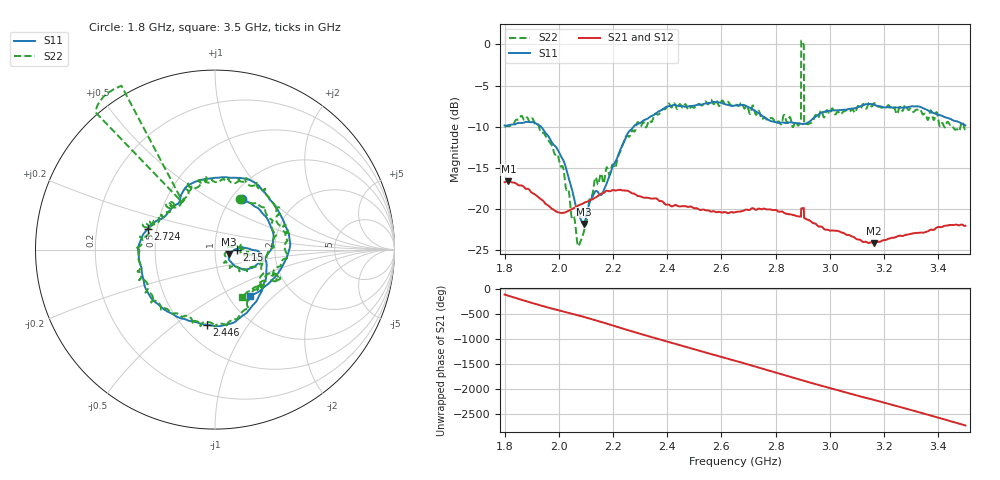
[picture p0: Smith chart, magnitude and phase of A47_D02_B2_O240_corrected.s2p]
! Created with skrf 1.9.0 (http://scikit-rf.org).
# Hz S RI R 50.0
!freq ReS11 ImS11 ReS21 ImS21 ReS12 ImS12 ReS22 ImS22
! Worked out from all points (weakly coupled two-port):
!   1601 points, 1.8 GHz to 3.5 GHz, reference 50 ohm
!   highest |S21| = -16.67 dB at 1.814 GHz (marker M1); lowest = -24.2 dB at 3.162 GHz (marker M2)
!   lowest |S11| = -21.8 dB at 2.091 GHz (marker M3), VSWR 1.18, Z = 58.3 - j2.9 ohm
!   |S11| at or under -10 dB: 1.934 GHz to 2.276 GHz (342.1 MHz wide, 16.2 % of centre)
!   |S22| runs from -24.5 to 0.5 dB; largest |S21 - S12| = 0.0025
!   S11 on the Smith chart (normalised r, x): 1.8 GHz: 1.12, +0.71; 2.15 GHz: 1.28, -0.00; 2.446 GHz: 0.65, -0.66; 2.724 GHz: 0.44, +0.12; 3.5 GHz: 1.26, -0.72
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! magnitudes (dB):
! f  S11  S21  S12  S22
! 1.8 GHz  -9.9  -16.8  -16.8  -10.0
! 1.814 GHz  -9.8  -16.7  -16.7  -9.9
! 1.902 GHz  -9.4  -18.1  -18.0  -9.0
! 1.967 GHz  -11.5  -19.8  -19.8  -11.9
! 2.015 GHz  -14.0  -20.5  -20.5  -14.9
! 2.071 GHz  -20.4  -19.6  -19.6  -24.5
! 2.084 GHz  -21.5  -19.4  -19.4  -23.6
! 2.091 GHz  -21.8  -19.3  -19.3  -22.9
! 2.15 GHz  -18.2  -18.3  -18.3  -16.5
! 2.258 GHz  -10.6  -17.9  -17.9  -11.2
! 2.367 GHz  -8.2  -19.0  -18.9  -8.5
! 2.446 GHz  -7.5  -19.7  -19.7  -7.3
! 2.65 GHz  -7.4  -20.4  -20.4  -7.3
! 2.724 GHz  -8.1  -20.1  -20.0  -8.4
! 2.885 GHz  -9.6  -20.9  -20.9  -9.8
! 2.897 GHz  -9.7  -20.0  -19.9  0.5
! 2.903 GHz  -9.7  -19.9  -19.9  0.0
! 2.913 GHz  -9.6  -21.3  -21.2  -9.7
! 2.934 GHz  -9.1  -21.6  -21.6  -9.5
! 3.162 GHz  -7.3  -24.2  -24.1  -7.2
! 3.217 GHz  -7.6  -23.6  -23.6  -7.4
! 3.5 GHz  -9.9  -22.1  -22.1  -10.3
